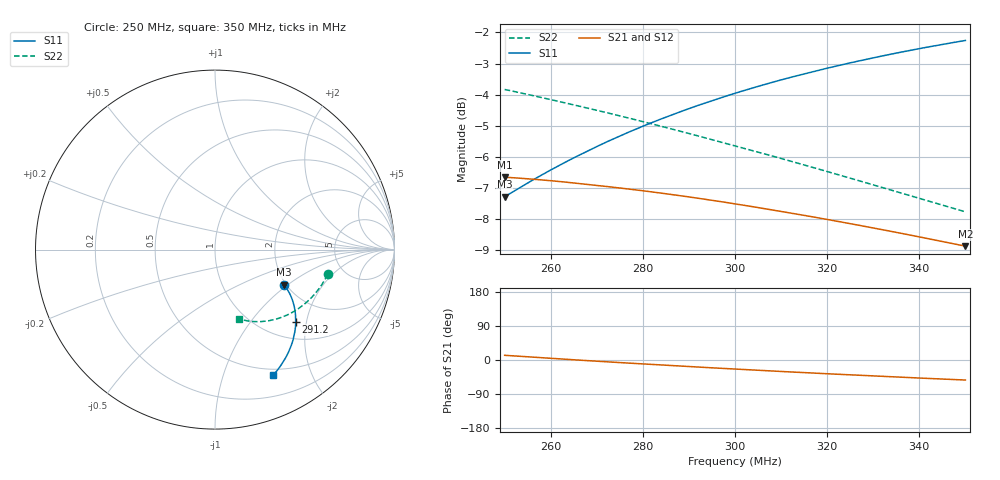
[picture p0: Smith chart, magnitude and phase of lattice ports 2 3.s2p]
#  HZ  S  DB  R  50.00
! Rohde & Schwarz Vector Network Analyzer
! Rohde-Schwarz,ZNL3-2Port,1323001203101687,1.37.1.9-20.11.2.22
! Created: UTC 11/14/2023, 3:57:25 PM
! freq[Hz]  db:S11  ang:S11  db:S21  ang:S21  db:S12  ang:S12  db:S22  ang:S22
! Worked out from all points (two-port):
!   801 points, 250 MHz to 350 MHz, reference 50 ohm
!   highest |S21| = -6.66 dB at 250 MHz (marker M1); lowest = -8.9 dB at 350 MHz (marker M2)
!   |S21| within 3 dB of the highest: start of sweep to end of sweep
!   lowest |S11| = -7.3 dB at 250 MHz (marker M3), VSWR 2.52, Z = 97.6 - j47.1 ohm
!   |S11| at or under -10 dB: nowhere
!   |S22| runs from -7.8 to -3.8 dB; largest |S21 - S12| = 0.0049
!   S11 on the Smith chart (normalised r, x): 250 MHz: 1.95, -0.94; 291.2 MHz: 1.37, -1.73; 350 MHz: 0.43, -1.48
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2.5e8  -7.29 -27.0  -6.66 12.4  -6.67 11.9  -3.83 -12.4
2.505e8  -7.24 -27.1  -6.66 12.0  -6.67 11.4  -3.85 -12.8
2.53375e8  -6.98 -28.0  -6.69 9.7  -6.70 9.1  -3.94 -15.2
2.5875e8  -6.53 -29.7  -6.75 5.4  -6.76 4.8  -4.12 -19.5
2.6275e8  -6.21 -31.0  -6.81 2.3  -6.82 1.7  -4.25 -22.6
2.6675e8  -5.91 -32.4  -6.87 -0.7  -6.88 -1.3  -4.39 -25.6
2.70625e8  -5.63 -33.8  -6.93 -3.6  -6.94 -4.2  -4.53 -28.4
2.74875e8  -5.34 -35.4  -7.00 -6.7  -7.01 -7.3  -4.68 -31.4
2.79125e8  -5.07 -37.1  -7.08 -9.8  -7.09 -10.4  -4.84 -34.3
2.83375e8  -4.82 -38.7  -7.16 -12.7  -7.17 -13.3  -5.00 -37.1
2.87375e8  -4.59 -40.3  -7.24 -15.5  -7.25 -16.1  -5.15 -39.6
2.9125e8  -4.39 -41.8  -7.32 -18.1  -7.33 -18.7  -5.30 -42.0
2.955e8  -4.17 -43.5  -7.41 -21.0  -7.42 -21.6  -5.47 -44.6
3e8  -3.96 -45.3  -7.51 -23.9  -7.52 -24.5  -5.65 -47.2
3.0425e8  -3.77 -47.0  -7.61 -26.6  -7.62 -27.3  -5.82 -49.5
3.0825e8  -3.60 -48.6  -7.71 -29.2  -7.72 -29.8  -5.98 -51.7
3.1675e8  -3.27 -52.0  -7.93 -34.3  -7.94 -35.0  -6.34 -56.1
3.25e8  -2.98 -55.4  -8.15 -39.2  -8.16 -39.9  -6.69 -60.1
3.33375e8  -2.71 -58.7  -8.39 -44.0  -8.39 -44.7  -7.05 -64.0
3.4125e8  -2.49 -61.8  -8.61 -48.3  -8.62 -49.0  -7.39 -67.4
3.48125e8  -2.31 -64.4  -8.82 -51.9  -8.83 -52.7  -7.69 -70.3
3.5e8  -2.26 -65.2  -8.88 -52.9  -8.88 -53.7  -7.77 -71.0
